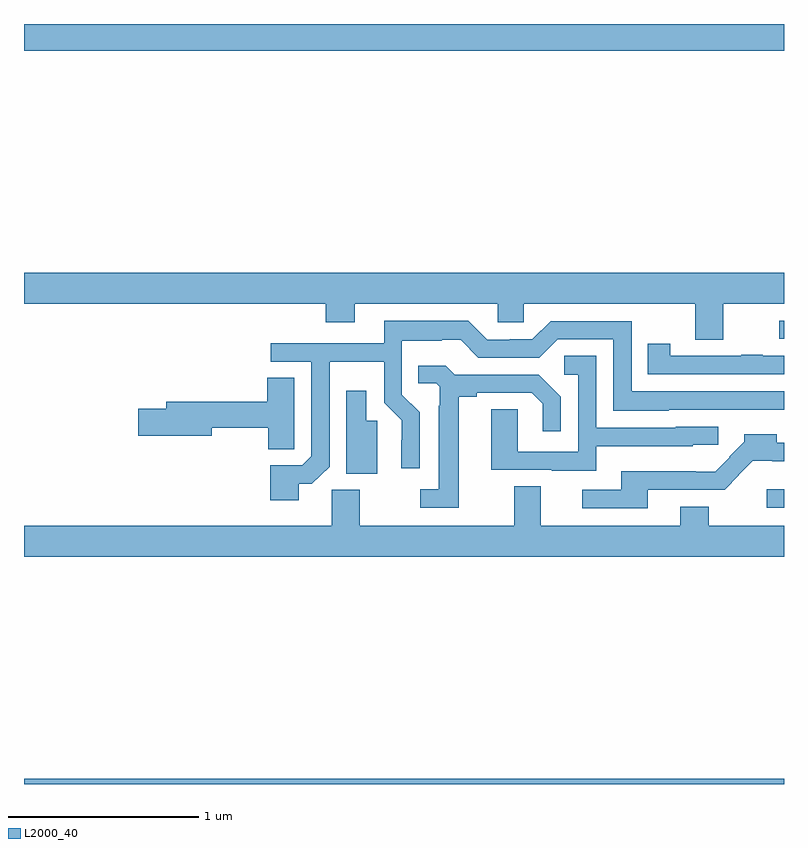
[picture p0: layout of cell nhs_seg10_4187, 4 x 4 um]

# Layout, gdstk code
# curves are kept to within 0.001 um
import gdstk
lib = gdstk.Library(unit=1e-6, precision=1e-09)
def R(c, l, rs):  # rectangles x0, y0, x1, y1
    for r in rs: c.add(gdstk.rectangle(r[:2], r[2:], *l))
def P(c, l, *ps):  # polygons
    for p in ps: c.add(gdstk.Polygon(p, *l))
L2000_40 = (2000, 40)

nhs_seg10_4187 = lib.new_cell('nhs_seg10_4187')
R(nhs_seg10_4187, L2000_40, [(345,1252.5,349,1252.528), (348.909,1253.955,349,1254.052), (348.975,1254.843,349,1254.939), (345,1256.36,349,1256.5)])
P(nhs_seg10_4187, L2000_40, [(348.679,1255.028),(349,1255.028),(349,1255.192),(345,1255.192),(345,1255.028),(346.589,1255.028),(346.589,1254.929),(346.741,1254.929),(346.741,1255.028),(347.493,1255.028),(347.493,1254.93),(347.631,1254.93),(347.631,1255.028),(348.532,1255.028),(348.532,1254.838),(348.679,1254.838)],
  [(346.447,1254.079),(346.515,1254.079),(346.608,1254.171),(346.608,1254.722),(346.896,1254.722),(346.896,1254.506),(346.988,1254.414),(346.988,1254.308),(346.986,1254.308),(346.986,1254.162),(347.082,1254.162),(347.082,1254.456),(346.989,1254.549),(346.989,1254.833),(347.198,1254.833),(347.198,1254.837),(347.298,1254.837),(347.391,1254.744),(347.712,1254.744),(347.808,1254.84),(348.102,1254.84),(348.102,1254.464),(348.393,1254.464),(348.393,1254.471),(349,1254.47),(349,1254.567),(348.198,1254.567),(348.198,1254.936),(347.772,1254.936),(347.676,1254.84),(347.556,1254.84),(347.556,1254.837),(347.439,1254.837),(347.339,1254.937),(346.895,1254.937),(346.895,1254.819),(346.299,1254.819),(346.299,1254.723),(346.512,1254.723),(346.512,1254.225),(346.464,1254.177),(346.295,1254.177),(346.295,1253.994),(346.447,1253.994)],
  [(349,1254.753),(348.887,1254.753),(348.887,1254.758),(348.775,1254.758),(348.775,1254.753),(348.402,1254.753),(348.402,1254.817),(348.283,1254.817),(348.283,1254.657),(349,1254.657)],
  [(348.013,1254.278),(348.519,1254.278),(348.519,1254.285),(348.654,1254.285),(348.654,1254.381),(348.429,1254.381),(348.429,1254.375),(348.012,1254.375),(348.012,1254.755),(347.844,1254.755),(347.844,1254.654),(347.916,1254.654),(347.916,1254.249),(347.598,1254.249),(347.598,1254.473),(347.459,1254.473),(347.459,1254.153),(347.777,1254.153),(347.777,1254.149),(348.013,1254.149)],
  [(347.287,1254.538),(347.383,1254.538),(347.383,1254.558),(347.672,1254.558),(347.729,1254.501),(347.729,1254.357),(347.826,1254.357),(347.826,1254.538),(347.71,1254.654),(347.268,1254.654),(347.22,1254.701),(347.074,1254.701),(347.074,1254.609),(347.169,1254.609),(347.187,1254.591),(347.187,1254.491),(347.183,1254.491),(347.183,1254.051),(347.085,1254.051),(347.085,1253.955),(347.287,1253.955)],
  [(346.422,1254.37),(346.423,1254.37),(346.423,1254.638),(346.28,1254.638),(346.28,1254.512),(345.749,1254.512),(345.749,1254.476),(345.6,1254.476),(345.6,1254.334),(345.988,1254.334),(345.988,1254.376),(346.285,1254.376),(346.285,1254.262),(346.422,1254.262)],
  [(346.858,1254.411),(346.801,1254.411),(346.801,1254.571),(346.697,1254.571),(346.697,1254.133),(346.858,1254.133)],
  [(348.283,1254.048),(348.687,1254.048),(348.763,1254.125),(348.761,1254.127),(348.835,1254.201),(349,1254.2),(349,1254.297),(348.961,1254.297),(348.961,1254.34),(348.79,1254.34),(348.79,1254.301),(348.711,1254.222),(348.714,1254.219),(348.638,1254.143),(348.536,1254.143),(348.536,1254.145),(348.143,1254.145),(348.143,1254.048),(347.937,1254.048),(347.937,1253.952),(348.283,1253.952)],
  [(349,1253.86),(348.603,1253.86),(348.603,1253.959),(348.455,1253.959),(348.455,1253.86),(347.719,1253.86),(347.719,1254.068),(347.579,1254.068),(347.579,1253.86),(346.767,1253.86),(346.767,1254.048),(346.62,1254.048),(346.62,1253.86),(345,1253.86),(345,1253.696),(349,1253.696)])

lib.write_gds('nhs_seg10_4187.gds')
